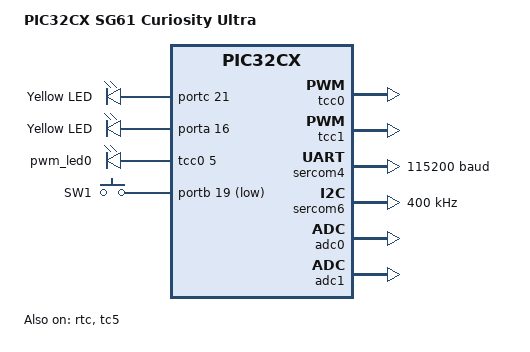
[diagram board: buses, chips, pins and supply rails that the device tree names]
/*
 * Copyright (c) 2025-2026 Microchip Technology Inc.
 *
 * SPDX-License-Identifier: Apache-2.0
 */

/dts-v1/;
#include <microchip/pic32c/pic32cx_sg/pic32cx_sg61/pic32cx1025sg61128.dtsi>
#include "pic32cx_sg61_cult-pinctrl.dtsi"
#include <zephyr/dt-bindings/i2c/i2c.h>
#include <zephyr/dt-bindings/input/input-event-codes.h>
#include <zephyr/dt-bindings/adc/adc.h>
#include <zephyr/dt-bindings/adc/mchp_sam_d5x_e5x_adc.h>

/ {
	model = "PIC32CX SG61 Curiosity Ultra";
	compatible = "pic32cxsg61,cultra", "microchip,pic32cx1025sg61128", "microchip,pic32cx";

	chosen {
		zephyr,sram = &sram0;
		zephyr,flash = &flash0;
		zephyr,console = &sercom4;
		zephyr,shell-uart = &sercom4;
		zephyr,code-partition = &slot0_partition;
		zephyr,flash-controller = &nvmctrl;
		zephyr,entropy = &trng;
	};

	aliases {
		led0 = &led1;
		sw0 = &button0;
		pwm-led0 = &pwm_led0;
		rtc = &rtc;
	};

	leds {
		compatible = "gpio-leds";

		led1: led_1 {
			gpios = <&portc 21 GPIO_ACTIVE_HIGH>;
			label = "Yellow LED";
		};

		led2: led_2 {
			gpios = <&porta 16 GPIO_ACTIVE_HIGH>;
			label = "Yellow LED";
		};
	};

	pwmleds {
		compatible = "pwm-leds";

		pwm_led0: pwm_led_0 {
			pwms = <&tcc0 5 PWM_MSEC(20) 0>;
			status = "okay";
		};
	};

	buttons {
		compatible = "gpio-keys";

		button0: button_0 {
			gpios = <&portb 19 (GPIO_PULL_UP | GPIO_ACTIVE_LOW)>;
			label = "SW1";
			zephyr,code = <INPUT_KEY_0>;
		};
	};
};

&rtc {
	prescaler = <1024>;
	status = "okay";
};

&flash0 {
	partitions {
		compatible = "fixed-partitions";

		#address-cells = <1>;
		#size-cells = <1>;

		boot_partition: partition@0 {
			reg = <0x00000000 0x00010000>;  /* 64 KB bootloader */
			read-only;
		};

		slot0_partition: partition@10000 {
			reg = <0x00010000 0x00070000>;  /* 448 KB primary app slot */
		};

		slot1_partition: partition@80000 {
			reg = <0x00080000 0x00070000>;  /* 448 KB secondary app slot */
		};

		storage_partition: partition@f0000 {
			reg = <0x000f0000 0x00010000>;  /* 64 KB storage area */
		};
	};
};

&cpu0 {
	clock-frequency = <120000000>;
};

&clock {
	compatible = "microchip,sam-d5x-e5x-clock";

	xosc: xosc {
		compatible = "microchip,sam-d5x-e5x-xosc";

		xosc1 {
			subsystem = <CLOCK_MCHP_XOSC_ID_XOSC1>;
			xosc-frequency = <12000000>;
			xosc-en = <1>;
			xosc-xtal-en = <1>;
			xosc-run-in-standby-en = <1>;
		};
	};

	dfll: dfll {
		compatible = "microchip,sam-d5x-e5x-dfll";
		dfll-en = <0>;
	};

	fdpll: fdpll {
		compatible = "microchip,sam-d5x-e5x-fdpll";

		fdpll0 {
			subsystem = <CLOCK_MCHP_FDPLL_ID_FDPLL0>;
			fdpll-divider-ratio-int = <19>;
			fdpll-lock-bypass-en = <1>;
			fdpll-wakeup-fast-en = <1>;
			fdpll-src = "xosc1";
			fdpll-en = <1>;
		};
	};

	xosc32k: xosc32k {
		compatible = "microchip,sam-d5x-e5x-xosc32k";
		xosc32k-xtal-en = <1>;
		xosc32k-startup-time = <62>;
		xosc32k-gain-mode = "standard";
		xosc32k-en = <1>;
		xosc32k-32khz-en = <1>;
		xosc32k-1khz-en = <1>;
	};

	gclkgen: gclkgen {
		compatible = "microchip,sam-d5x-e5x-gclkgen";

		gclkgen0 {
			subsystem = <CLOCK_MCHP_GCLKGEN_ID_GEN0>;
			gclkgen-div-factor = <1>;
			gclkgen-run-in-standby-en = <1>;
			gclkgen-src = "fdpll0";
			gclkgen-en = <1>;
		};

		gclkgen1 {
			subsystem = <CLOCK_MCHP_GCLKGEN_ID_GEN1>;
			gclkgen-div-factor = <2>;
			gclkgen-src = "fdpll0";
			gclkgen-run-in-standby-en = <1>;
			gclkgen-en = <1>;
		};
	};

	gclkperiph: gclkperiph {
		compatible = "microchip,sam-d5x-e5x-gclkperiph";
		#clock-cells = <1>;

		adc0 {
			subsystem = <CLOCK_MCHP_GCLKPERIPH_ID_ADC0>;
			gclkperiph-src = "gclk1";
			gclkperiph-en = <0>;
		};

		adc1 {
			subsystem = <CLOCK_MCHP_GCLKPERIPH_ID_ADC1>;
			gclkperiph-src = "gclk1";
			gclkperiph-en = <0>;
		};
	};

	mclkperiph: mclkperiph {
		compatible = "microchip,sam-d5x-e5x-mclkperiph";
		#clock-cells = <1>;
	};
};

&tcc0 {
	compatible = "microchip,tcc-g1-pwm";
	#pwm-cells = <3>;
	pinctrl-0 = <&tcc0_pwm_default>;
	pinctrl-names = "default";
	max-bit-width = <24>;
	prescaler = <8>;
	status = "okay";
};

&tcc1 {
	compatible = "microchip,tcc-g1-counter";
	max-bit-width = <24>;
	prescaler = <8>;
	status = "okay";
};

&porta {
	status = "okay";
};

&portb {
	status = "okay";
};

&portc {
	status = "okay";
};

&sercom4 {
	compatible = "microchip,sercom-g1-uart";
	#address-cells = <1>;
	#size-cells = <0>;
	current-speed = <115200>;
	data-bits = <8>;
	parity = "none";
	stop-bits = "1";
	rxpo = <1>;
	txpo = <0>;
	pinctrl-0 = <&sercom4_uart_default>;
	pinctrl-names = "default";
	status = "okay";
};

&dmac {
	status = "okay";
};

&sercom6 {
	compatible = "microchip,sercom-g1-i2c";
	#address-cells = <1>;
	#size-cells = <0>;
	clock-frequency = <I2C_BITRATE_FAST>;
	pinctrl-0 = <&sercom6_i2c_default>;
	pinctrl-names = "default";
	dmas = <&dmac 10 0x10>, <&dmac 11 0x11>;
	dma-names = "rx", "tx";
	status = "okay";
};

&tc5 {
	compatible = "microchip,tc-g1-pwm";
	#pwm-cells = <3>;
	pinctrl-0 = <&tc5_pwm_default>;
	pinctrl-names = "default";
	max-bit-width = <16>;
	prescaler = <64>;
	status = "okay";
};

&adc0 {
	/* ADC clock = GCLK / prescaler (60 MHz / 4 = 15 MHz) */
	prescaler = <4>;
	pinctrl-0 = <&adc0_default>;
	pinctrl-names = "default";
	status = "okay";
};

&adc1 {
	/* ADC clock = GCLK / prescaler (60 MHz / 4 = 15 MHz) */
	prescaler = <4>;
	pinctrl-0 = <&adc1_default>;
	pinctrl-names = "default";
	status = "okay";
};
